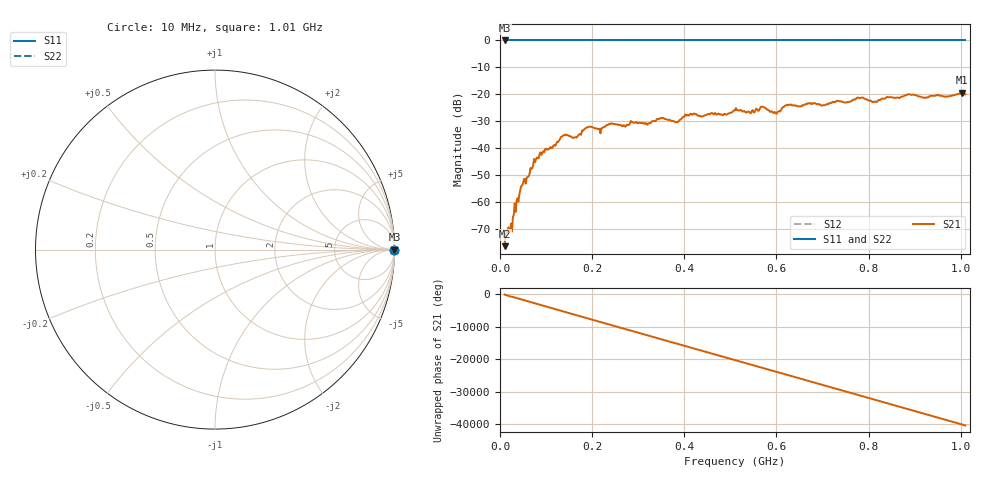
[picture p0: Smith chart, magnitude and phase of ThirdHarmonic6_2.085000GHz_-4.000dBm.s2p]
! 8/17/2025 12:57:30 AM
! C:\ANRITSUVNA\TEMP\TEMP.S2P
! CHANNEL.1
! TR.MEASUREMENT
! RAW.DATA
! RF.CORRECTION.OFF
! AVERAGING.OFF
! IF.BANDWIDTH: 5KHZ
! SWEEPTYPE:  FREQ.SWEEP(Linear)
! Reference Plane Port Info
! PORT:  PORT1  PORT2
! DISTANCE:  0  m  0  m
! TIME:  0  s  0  s
! PHASE.OFFSET:  0  deg.  0  deg.
! LOSS:  0  dB  0  dB
! REF.LOSS:  0  dB  0  dB
! REF.FREQ:  0  Hz  0  Hz
! Power Info
! POWER:  -20  dBm  -20  dBm
! EFF.POWER:  -20  dBm  -20  dBm
! SOURCE.ATTEN:  0  dB  0  dB
! TEST.ATTEN:  0  dB  0  dB
# GHZ S RI R 50.0
! FREQ.GHZ  S11RE  S11IM  S21RE  S21IM  S12RE  S12IM  S22RE  S22IM
!; PortSelection: Port_12
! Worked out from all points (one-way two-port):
!   501 points, 10 MHz to 1.01 GHz, reference 50 ohm
!   highest |S21| = -19.37 dB at 1.002 GHz (marker M1); lowest = -76.4 dB at 10 MHz (marker M2)
!   lowest |S11| = 0.0 dB at 10 MHz (marker M3)
!   |S11| at or under -10 dB: nowhere
!   |S22| runs from 0.0 to 0.0 dB; largest |S21 - S12| = 1.1
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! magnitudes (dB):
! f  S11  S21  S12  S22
! 10 MHz  0.0  -76.4  0.0  0.0
! 26 MHz  0.0  -71.0  0.0  0.0
! 48 MHz  0.0  -53.8  0.0  0.0
! 78 MHz  0.0  -44.2  0.0  0.0
! 136 MHz  0.0  -35.4  0.0  0.0
! 162 MHz  0.0  -36.0  0.0  0.0
! 178 MHz  0.0  -33.5  0.0  0.0
! 192 MHz  0.0  -32.2  0.0  0.0
! 216 MHz  0.0  -32.8  0.0  0.0
! 240 MHz  0.0  -31.0  0.0  0.0
! 344 MHz  0.0  -29.3  0.0  0.0
! 384 MHz  0.0  -30.3  0.0  0.0
! 416 MHz  0.0  -27.6  0.0  0.0
! 510 MHz  0.0  -26.0  0.0  0.0
! 548 MHz  0.0  -25.8  0.0  0.0
! 570 MHz  0.0  -24.6  0.0  0.0
! 596 MHz  0.0  -26.5  0.0  0.0
! 622 MHz  0.0  -24.0  0.0  0.0
! 678 MHz  0.0  -23.6  0.0  0.0
! 844 MHz  0.0  -21.1  0.0  0.0
! 1.002 GHz  0.0  -19.4  0.0  0.0
! 1.01 GHz  0.0  -20.0  0.0  0.0
